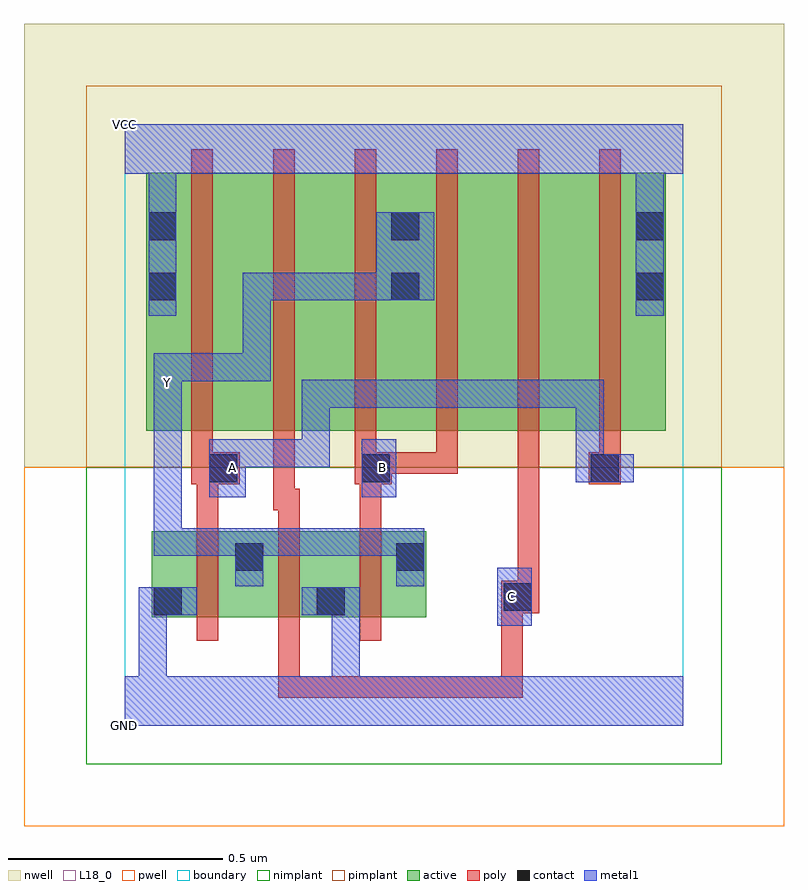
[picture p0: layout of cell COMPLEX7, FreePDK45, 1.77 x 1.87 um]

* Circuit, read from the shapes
.subckt COMPLEX7 A B C GND VCC Y
M1 Y A GND VSUBS nfet w=0.2u l=0.05u
M2 GND C Y VSUBS nfet w=0.2u l=0.05u
M3 Y B GND VSUBS nfet w=0.2u l=0.05u
M4 n1 A VCC n2 pfet w=0.6u l=0.05u
M5 n3 C n1 n2 pfet w=0.6u l=0.05u
M6 Y B n3 n2 pfet w=0.6u l=0.05u
M7 n4 B Y n2 pfet w=0.6u l=0.05u
M8 n5 C n4 n2 pfet w=0.6u l=0.05u
M9 VCC A n5 n2 pfet w=0.6u l=0.05u
.ends

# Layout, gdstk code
import gdstk
lib = gdstk.Library(unit=1e-6, precision=1e-09)
def R(c, l, rs):  # rectangles x0, y0, x1, y1
    for r in rs: c.add(gdstk.rectangle(r[:2], r[2:], *l))
def A(c, l, x, y, w, h, nx, ny, dx, dy):  # array of equal rectangles
    R(c, l, [(x+i*dx, y+j*dy, x+i*dx+w, y+j*dy+h) for i in range(nx) for j in range(ny)])
active = (1, 0)
pwell = (2, 0)
nwell = (3, 0)
nimplant = (4, 0)
pimplant = (5, 0)
poly = (9, 0)
contact = (10, 0)
metal1 = (11, 0)
L18_0 = (18, 0)
boundary = (235, 0)

complex7 = lib.new_cell('COMPLEX7')
R(complex7, active, [(0.062,0.252,0.327,0.452), (0.062,0.252,0.137,0.452), (0.252,0.252,0.517,0.452), (0.442,0.252,0.702,0.452), (0.442,0.252,0.517,0.387), (0.252,0.332,0.327,0.43), (0.627,0.332,0.702,0.452), (0.05,0.687,0.125,1.287), (0.05,0.687,0.275,1.287), (0.275,0.687,0.465,1.287), (0.465,0.687,0.69,1.287), (0.615,0.687,0.845,1.287), (0.845,0.687,1.035,1.287), (1.035,0.687,1.26,1.287), (1.185,0.687,1.26,1.287), (0.615,0.707,0.69,1.2)])
R(complex7, pwell, [(-0.235,-0.235,1.535,0.602)])
R(complex7, nwell, [(-0.235,0.602,1.535,1.635)])
R(complex7, nimplant, [(-0.09,-0.09,1.39,0.602)])
R(complex7, pimplant, [(-0.09,0.602,1.39,1.49)])
A(complex7, poly, 0.167, 0.197, 0.05, 0.31, 3, 1, 0.19, 0)
A(complex7, poly, 0.155, 0.632, 0.05, 0.71, 6, 1, 0.19, 0)
R(complex7, poly, [(0.357,0.065,0.407,0.115), (0.357,0.065,0.407,0.115), (0.357,0.065,0.407,0.115), (0.357,0.065,0.622,0.115), (0.357,0.065,0.407,0.247), (0.572,0.065,0.622,0.115), (0.572,0.065,0.755,0.115), (0.705,0.065,0.755,0.115), (0.705,0.065,0.755,0.115), (0.705,0.065,0.755,0.115), (0.705,0.065,0.927,0.115), (0.877,0.065,0.927,0.115), (0.877,0.065,0.927,0.115), (0.877,0.065,0.927,0.115), (0.877,0.065,0.927,0.115), (0.877,0.065,0.927,0.115), (0.877,0.065,0.927,0.312), (0.877,0.262,0.927,0.312), (0.877,0.262,0.927,0.312), (0.877,0.262,0.965,0.337), (0.915,0.287,0.965,0.682), (0.167,0.457,0.217,0.612), (0.357,0.457,0.407,0.552), (0.547,0.457,0.597,0.612), (0.345,0.502,0.395,0.682), (0.345,0.502,0.407,0.552), (0.155,0.562,0.267,0.637), (0.535,0.562,0.622,0.637), (1.08,0.562,1.155,0.637), (0.155,0.587,0.205,0.682), (0.535,0.587,0.585,0.682), (0.572,0.587,0.775,0.637), (0.725,0.587,0.775,0.682), (0.725,0.587,0.775,0.637), (0.725,0.587,0.775,0.637), (0.725,0.587,0.775,0.637), (1.105,0.587,1.155,0.682)])
R(complex7, contact, [(0.067,0.257,0.132,0.322), (0.447,0.257,0.512,0.322), (0.882,0.267,0.947,0.332), (0.257,0.36,0.322,0.425), (0.632,0.36,0.697,0.425), (0.197,0.567,0.262,0.632), (0.552,0.567,0.617,0.632), (1.085,0.567,1.15,0.632), (0.055,0.99,0.12,1.055), (0.62,0.99,0.685,1.055), (1.19,0.99,1.255,1.055), (0.055,1.13,0.12,1.195), (0.62,1.13,0.685,1.195), (1.19,1.13,1.255,1.195)])
R(complex7, metal1, [(0,0,1.3,0.115), (0.032,0.05,0.097,0.115), (0.032,0.05,0.097,0.115), (0.032,0.05,0.097,0.322), (0.482,0.05,0.547,0.115), (0.482,0.05,0.547,0.115), (0.482,0.05,0.547,0.115), (0.482,0.05,0.547,0.115), (0.482,0.05,0.547,0.322), (0.867,0.232,0.947,0.367), (0.032,0.257,0.097,0.322), (0.032,0.257,0.097,0.322), (0.032,0.257,0.167,0.322), (0.412,0.257,0.547,0.322), (0.257,0.325,0.322,0.46), (0.632,0.325,0.697,0.46), (0.067,0.395,0.132,0.46), (0.067,0.395,0.132,0.46), (0.067,0.395,0.132,0.46), (0.067,0.395,0.322,0.46), (0.067,0.395,0.132,0.797), (0.257,0.395,0.477,0.46), (0.412,0.395,0.477,0.46), (0.412,0.395,0.477,0.46), (0.412,0.395,0.477,0.46), (0.412,0.395,0.657,0.46), (0.592,0.395,0.657,0.46), (0.592,0.395,0.697,0.46), (0.197,0.532,0.282,0.667), (0.552,0.532,0.632,0.667), (1.05,0.567,1.115,0.632), (1.05,0.567,1.115,0.632), (1.05,0.567,1.185,0.632), (1.05,0.567,1.115,0.805), (0.217,0.602,0.282,0.667), (0.217,0.602,0.282,0.667), (0.217,0.602,0.477,0.667), (0.412,0.602,0.477,0.667), (0.412,0.602,0.477,0.667), (0.412,0.602,0.477,0.667), (0.412,0.602,0.477,0.805), (0.067,0.732,0.132,0.867), (0.412,0.74,0.477,0.805), (0.412,0.74,0.657,0.805), (0.592,0.74,0.657,0.805), (0.592,0.74,0.657,0.805), (0.592,0.74,0.657,0.805), (0.592,0.74,0.795,0.805), (0.73,0.74,0.795,0.805), (0.73,0.74,0.932,0.805), (0.867,0.74,0.932,0.805), (0.867,0.74,0.932,0.805), (0.867,0.74,0.932,0.805), (0.867,0.74,1.115,0.805), (1.05,0.74,1.115,0.805), (0.067,0.802,0.132,0.867), (0.067,0.802,0.132,0.867), (0.067,0.802,0.132,0.867), (0.067,0.802,0.132,0.867), (0.067,0.802,0.34,0.867), (0.275,0.802,0.34,0.867), (0.275,0.802,0.34,1.055), (0.055,0.955,0.12,1.23), (1.19,0.955,1.255,1.23), (0.275,0.99,0.34,1.055), (0.275,0.99,0.48,1.055), (0.415,0.99,0.48,1.055), (0.415,0.99,0.48,1.055), (0.415,0.99,0.48,1.055), (0.415,0.99,0.65,1.055), (0.585,0.99,0.65,1.055), (0.585,0.99,0.65,1.055), (0.585,0.99,0.72,1.195), (0.055,1.165,0.12,1.35), (1.19,1.165,1.255,1.35), (0,1.285,1.3,1.4)])
R(complex7, L18_0, [(0,0,1.3,0.115), (0.032,0.05,0.097,0.115), (0.032,0.05,0.097,0.115), (0.032,0.05,0.097,0.322), (0.482,0.05,0.547,0.115), (0.482,0.05,0.547,0.115), (0.482,0.05,0.547,0.115), (0.482,0.05,0.547,0.115), (0.482,0.05,0.547,0.322), (0.867,0.232,0.947,0.367), (0.032,0.257,0.097,0.322), (0.032,0.257,0.097,0.322), (0.032,0.257,0.167,0.322), (0.412,0.257,0.547,0.322), (0.867,0.267,0.932,0.332), (0.257,0.325,0.322,0.46), (0.632,0.325,0.697,0.46), (0.067,0.395,0.132,0.46), (0.067,0.395,0.132,0.46), (0.067,0.395,0.132,0.46), (0.067,0.395,0.132,0.797), (0.067,0.395,0.322,0.46), (0.257,0.395,0.477,0.46), (0.412,0.395,0.477,0.46), (0.412,0.395,0.477,0.46), (0.412,0.395,0.477,0.46), (0.412,0.395,0.657,0.46), (0.592,0.395,0.657,0.46), (0.592,0.395,0.697,0.46), (0.197,0.532,0.282,0.667), (0.552,0.532,0.632,0.667), (0.217,0.567,0.282,0.632), (0.567,0.567,0.632,0.632), (1.05,0.567,1.115,0.632), (1.05,0.567,1.115,0.632), (1.05,0.567,1.185,0.632), (1.05,0.567,1.115,0.805), (0.217,0.602,0.282,0.667), (0.217,0.602,0.282,0.667), (0.217,0.602,0.477,0.667), (0.412,0.602,0.477,0.667), (0.412,0.602,0.477,0.667), (0.412,0.602,0.477,0.667), (0.412,0.602,0.477,0.805), (0.067,0.732,0.132,0.867), (0.412,0.74,0.477,0.805), (0.412,0.74,0.657,0.805), (0.592,0.74,0.657,0.805), (0.592,0.74,0.657,0.805), (0.592,0.74,0.657,0.805), (0.592,0.74,0.795,0.805), (0.73,0.74,0.795,0.805), (0.73,0.74,0.932,0.805), (0.867,0.74,0.932,0.805), (0.867,0.74,0.932,0.805), (0.867,0.74,0.932,0.805), (0.867,0.74,1.115,0.805), (1.05,0.74,1.115,0.805), (0.067,0.767,0.132,0.832), (0.067,0.802,0.132,0.867), (0.067,0.802,0.132,0.867), (0.067,0.802,0.132,0.867), (0.067,0.802,0.132,0.867), (0.067,0.802,0.34,0.867), (0.275,0.802,0.34,0.867), (0.275,0.802,0.34,1.055), (0.055,0.955,0.12,1.23), (1.19,0.955,1.255,1.23), (0.275,0.99,0.34,1.055), (0.275,0.99,0.48,1.055), (0.415,0.99,0.48,1.055), (0.415,0.99,0.48,1.055), (0.415,0.99,0.48,1.055), (0.415,0.99,0.65,1.055), (0.585,0.99,0.65,1.055), (0.585,0.99,0.65,1.055), (0.585,0.99,0.72,1.195), (0.055,1.165,0.12,1.35), (1.19,1.165,1.255,1.35), (0,1.285,1.3,1.4)])
R(complex7, boundary, [(0,0,1.3,1.4)])
complex7.add(gdstk.Label('A', (0.25,0.6), layer=11, texttype=0))
complex7.add(gdstk.Label('B', (0.6,0.6), layer=11, texttype=0))
complex7.add(gdstk.Label('C', (0.9,0.3), layer=11, texttype=0))
complex7.add(gdstk.Label('Y', (0.1,0.8), layer=11, texttype=0))
complex7.add(gdstk.Label('VCC', (0,1.4), layer=11, texttype=0))
complex7.add(gdstk.Label('GND', (0,0), layer=11, texttype=0))

lib.write_gds('COMPLEX7.gds')
